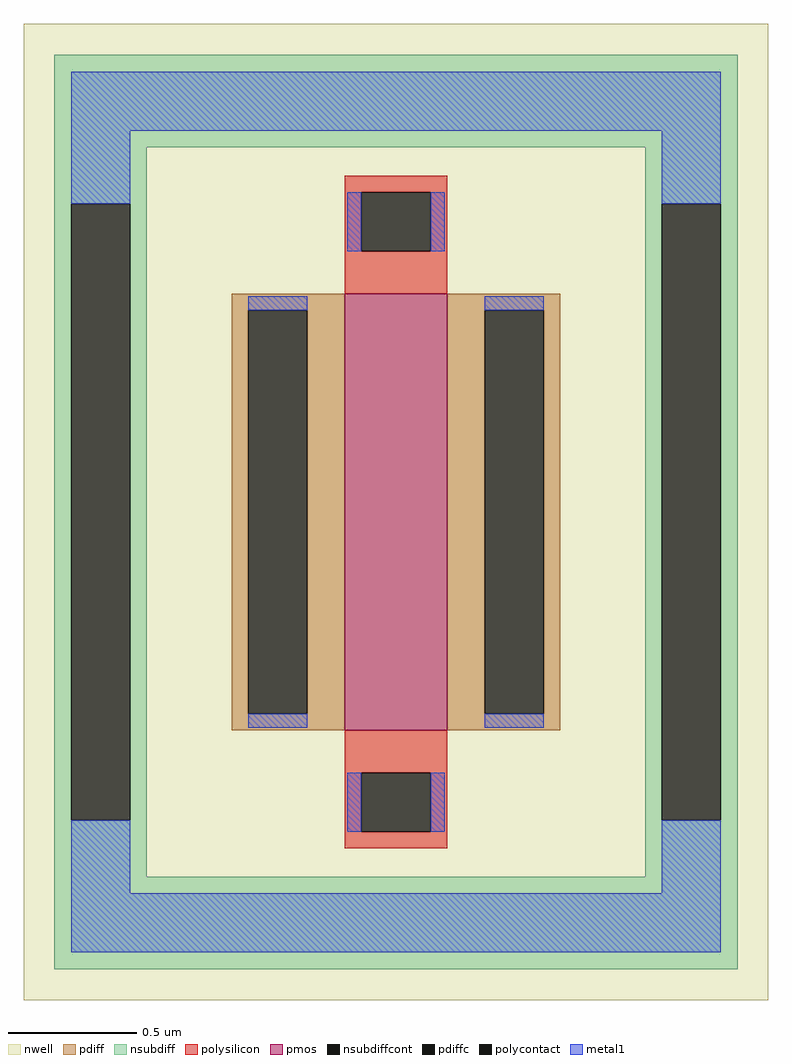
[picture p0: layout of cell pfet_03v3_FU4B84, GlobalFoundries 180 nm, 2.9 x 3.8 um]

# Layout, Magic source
magic
tech gf180mcuD
magscale 1 10
<< nwell >>
rect -290 -380 290 380
<< pmos >>
rect -40 -170 40 170
<< pdiff >>
rect -128 157 -40 170
rect -128 -157 -115 157
rect -69 -157 -40 157
rect -128 -170 -40 -157
rect 40 157 128 170
rect 40 -157 69 157
rect 115 -157 128 157
rect 40 -170 128 -157
<< pdiffc >>
rect -115 -157 -69 157
rect 69 -157 115 157
<< nsubdiff >>
rect -266 284 266 356
rect -266 240 -194 284
rect -266 -240 -253 240
rect -207 -240 -194 240
rect 194 240 266 284
rect -266 -284 -194 -240
rect 194 -240 207 240
rect 253 -240 266 240
rect 194 -284 266 -240
rect -266 -356 266 -284
<< nsubdiffcont >>
rect -253 -240 -207 240
rect 207 -240 253 240
<< polysilicon >>
rect -40 249 40 262
rect -40 203 -27 249
rect 27 203 40 249
rect -40 170 40 203
rect -40 -203 40 -170
rect -40 -249 -27 -203
rect 27 -249 40 -203
rect -40 -262 40 -249
<< polycontact >>
rect -27 203 27 249
rect -27 -249 27 -203
<< metal1 >>
rect -253 297 253 343
rect -253 240 -207 297
rect -38 203 -27 249
rect 27 203 38 249
rect 207 240 253 297
rect -115 157 -69 168
rect -115 -168 -69 -157
rect 69 157 115 168
rect 69 -168 115 -157
rect -253 -297 -207 -240
rect -38 -249 -27 -203
rect 27 -249 38 -203
rect 207 -297 253 -240
rect -253 -343 253 -297
<< properties >>
string FIXED_BBOX -230 -320 230 320
string gencell pfet_03v3
string library gf180mcu
string parameters w 1.7 l 0.4 m 1 nf 1 diffcov 100 polycov 100 guard 1 glc 1 grc 1 gtc 0 gbc 0 tbcov 100 rlcov 100 topc 1 botc 1 poverlap 0 doverlap 1 lmin 0.28 wmin 0.22 class mosfet full_metal 1 compatible {pfet_03v3 pfet_06v0}
<< end >>
